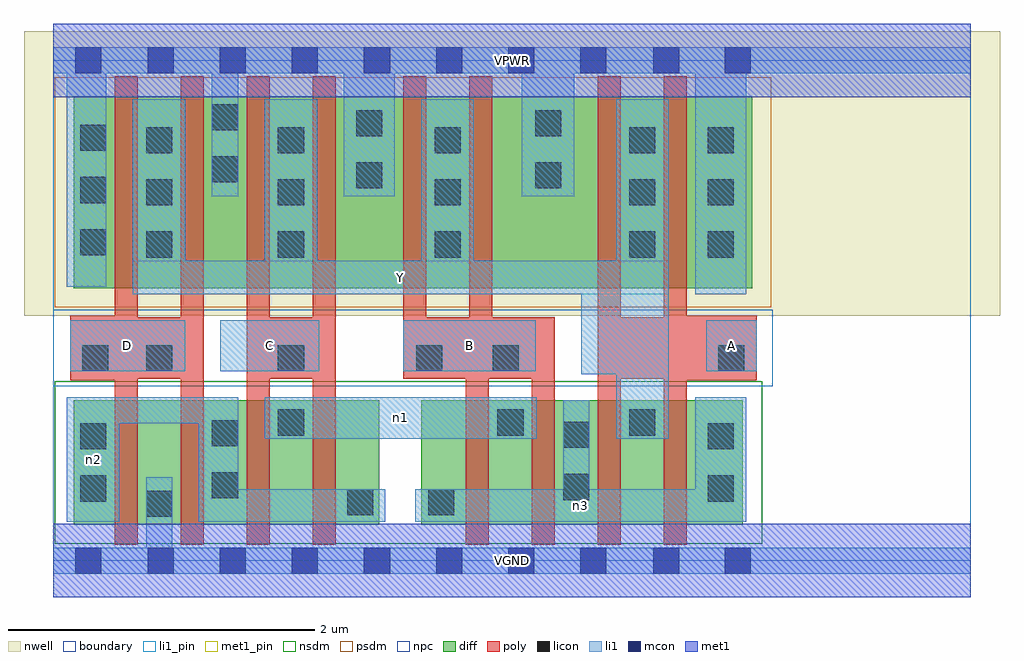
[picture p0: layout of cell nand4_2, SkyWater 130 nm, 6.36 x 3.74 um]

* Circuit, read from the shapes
.subckt nand4_2 A B C D VGND VPWR Y n1 n2 n3
XM1 VGND D n2 VSUBS sky130_fd_pr__nfet_01v8 w=0.81 l=0.15 m=2
XM2 n1 C n2 VSUBS sky130_fd_pr__nfet_01v8 w=0.81 l=0.15 m=2
XM3 n1 B n3 VSUBS sky130_fd_pr__nfet_01v8 w=0.81 l=0.15 m=2
XM4 Y A n3 VSUBS sky130_fd_pr__nfet_01v8 w=0.81 l=0.15 m=2
XM5 Y D VPWR n4 sky130_fd_pr__pfet_01v8 w=1.25 l=0.15 m=2
XM6 Y C VPWR n4 sky130_fd_pr__pfet_01v8 w=1.25 l=0.15 m=2
XM7 Y B VPWR n4 sky130_fd_pr__pfet_01v8 w=1.25 l=0.15 m=2
XM8 Y A VPWR n4 sky130_fd_pr__pfet_01v8 w=1.25 l=0.15 m=2
.ends

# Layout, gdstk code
import gdstk
lib = gdstk.Library(unit=1e-6, precision=1e-09)
def R(c, l, rs):  # rectangles x0, y0, x1, y1
    for r in rs: c.add(gdstk.rectangle(r[:2], r[2:], *l))
def A(c, l, x, y, w, h, nx, ny, dx, dy):  # array of equal rectangles
    R(c, l, [(x+i*dx, y+j*dy, x+i*dx+w, y+j*dy+h) for i in range(nx) for j in range(ny)])
nwell = (64, 20)
diff = (65, 20)
poly = (66, 20)
licon = (66, 44)
li1_pin = (67, 16)
li1 = (67, 20)
mcon = (67, 44)
met1_pin = (68, 16)
met1 = (68, 20)
nsdm = (93, 44)
psdm = (94, 20)
npc = (95, 20)
boundary = (235, 4)

nand4_2 = lib.new_cell('nand4_2')
R(nand4_2, nwell, [(-0.19,1.595,6.17,3.45), (0,1.595,5.98,3.45)])
R(nand4_2, diff, [(0.135,0.235,2.125,1.045), (2.4,0.235,4.495,1.045), (0.135,1.775,4.555,3.025)])
A(nand4_2, poly, 0.4, 0.105, 0.15, 3.05, 4, 1, 0.43, 0)
R(nand4_2, poly, [(2.69,0.105,2.84,1.585), (3.12,0.105,3.27,1.585), (3.55,0.105,3.7,3.155), (3.98,0.105,4.13,3.155), (0.11,1.175,0.55,1.595), (3.98,1.175,4.585,1.595), (0.11,1.185,0.98,1.585), (1.26,1.185,1.84,1.585), (2.28,1.185,3.27,1.585), (2.28,1.185,2.43,3.155), (2.71,1.185,2.86,3.155), (3.55,1.185,4.585,1.585)])
A(nand4_2, licon, 0.605, 1.975, 0.17, 0.17, 1, 3, 0, 0.34)
A(nand4_2, licon, 1.465, 1.975, 0.17, 0.17, 1, 3, 0, 0.34)
A(nand4_2, licon, 2.485, 1.975, 0.17, 0.17, 1, 3, 0, 0.34)
A(nand4_2, licon, 3.755, 1.975, 0.17, 0.17, 1, 3, 0, 0.34)
A(nand4_2, licon, 4.265, 1.975, 0.17, 0.17, 1, 3, 0, 0.34)
A(nand4_2, licon, 0.175, 1.99, 0.17, 0.17, 1, 3, 0, 0.34)
R(nand4_2, licon, [(0.605,0.285,0.775,0.455), (1.915,0.295,2.085,0.465), (2.445,0.295,2.615,0.465), (0.175,0.385,0.345,0.555), (4.265,0.385,4.435,0.555), (3.325,0.395,3.495,0.565), (1.035,0.405,1.205,0.575), (0.175,0.725,0.345,0.895), (4.265,0.725,4.435,0.895), (3.325,0.735,3.495,0.905), (1.035,0.745,1.205,0.915), (1.465,0.815,1.635,0.985), (2.895,0.815,3.065,0.985), (3.755,0.815,3.925,0.985), (0.19,1.235,0.36,1.405), (0.605,1.235,0.775,1.405), (1.465,1.235,1.635,1.405), (2.365,1.235,2.535,1.405), (2.865,1.235,3.035,1.405), (4.335,1.235,4.505,1.405), (1.975,2.425,2.145,2.595), (3.14,2.425,3.31,2.595), (1.035,2.465,1.205,2.635), (1.975,2.765,2.145,2.935), (3.14,2.765,3.31,2.935), (1.035,2.805,1.205,2.975)])
R(nand4_2, li1_pin, [(0.11,1.235,0.86,1.565), (1.09,1.235,1.735,1.565), (2.28,1.235,3.145,1.565), (4.255,1.235,4.585,1.565), (0.52,1.735,4.01,1.955)])
R(nand4_2, li1, [(0,-0.085,5.98,0.085), (0.605,-0.085,0.775,0.545), (0.09,0.255,0.43,1.065), (0.95,0.255,2.165,0.465), (0.95,0.255,1.205,1.065), (2.36,0.255,4.515,0.465), (3.325,0.255,3.495,1.045), (4.185,0.255,4.515,1.065), (1.38,0.795,3.15,1.065), (3.67,0.795,4.01,3.005), (0.09,0.895,1.205,1.065), (3.44,1.215,4.01,1.955), (0.11,1.235,0.86,1.565), (1.09,1.235,1.735,1.565), (2.28,1.235,3.145,1.565), (4.255,1.235,4.585,1.565), (0.52,1.735,4.01,1.955), (0.52,1.735,0.86,3.005), (1.38,1.735,1.72,3.005), (2.4,1.735,2.74,3.005), (4.185,1.735,4.515,3.345), (0.09,1.785,0.345,3.345), (1.035,2.375,1.205,3.345), (1.895,2.375,2.225,3.345), (3.055,2.375,3.395,3.345), (0,3.175,5.98,3.345)])
A(nand4_2, mcon, 0.145, -0.085, 0.17, 0.17, 8, 2, 0.47, 3.26)
R(nand4_2, mcon, [(3.91,-0.085,4.08,0.085), (4.375,-0.085,4.545,0.085), (3.91,3.175,4.08,3.345), (4.375,3.175,4.545,3.345)])
R(nand4_2, met1_pin, [(0,-0.24,5.98,0.24), (0,3.02,5.98,3.5)])
R(nand4_2, met1, [(0,-0.24,5.98,0.24), (0,3.02,5.98,3.5)])
R(nand4_2, nsdm, [(0.01,0.11,4.62,1.17)])
R(nand4_2, psdm, [(0.01,1.65,4.68,3.15)])
R(nand4_2, npc, [(0,1.135,4.69,1.635)])
R(nand4_2, boundary, [(0,0,5.98,3.26)])
nand4_2.add(gdstk.Label('A', (4.42,1.4), layer=67, texttype=5))
nand4_2.add(gdstk.Label('B', (2.712,1.4), layer=67, texttype=5))
nand4_2.add(gdstk.Label('C', (1.412,1.4), layer=67, texttype=5))
nand4_2.add(gdstk.Label('D', (0.485,1.4), layer=67, texttype=5))
nand4_2.add(gdstk.Label('Y', (2.265,1.845), layer=67, texttype=5))
nand4_2.add(gdstk.Label('n2', (0.26,0.66), layer=67, texttype=5))
nand4_2.add(gdstk.Label('n1', (2.265,0.93), layer=67, texttype=5))
nand4_2.add(gdstk.Label('n3', (3.437,0.36), layer=67, texttype=5))
nand4_2.add(gdstk.Label('VPWR', (2.99,3.26), layer=68, texttype=5))
nand4_2.add(gdstk.Label('VGND', (2.99,0), layer=68, texttype=5))
nand4_2.add(gdstk.Label('A', (4.42,1.4), layer=67, texttype=16))
nand4_2.add(gdstk.Label('B', (2.712,1.4), layer=67, texttype=16))
nand4_2.add(gdstk.Label('C', (1.412,1.4), layer=67, texttype=16))
nand4_2.add(gdstk.Label('D', (0.485,1.4), layer=67, texttype=16))
nand4_2.add(gdstk.Label('Y', (2.265,1.845), layer=67, texttype=16))
nand4_2.add(gdstk.Label('VPWR', (2.99,3.26), layer=68, texttype=16))
nand4_2.add(gdstk.Label('VGND', (2.99,0), layer=68, texttype=16))

lib.write_gds('nand4_2.gds')
